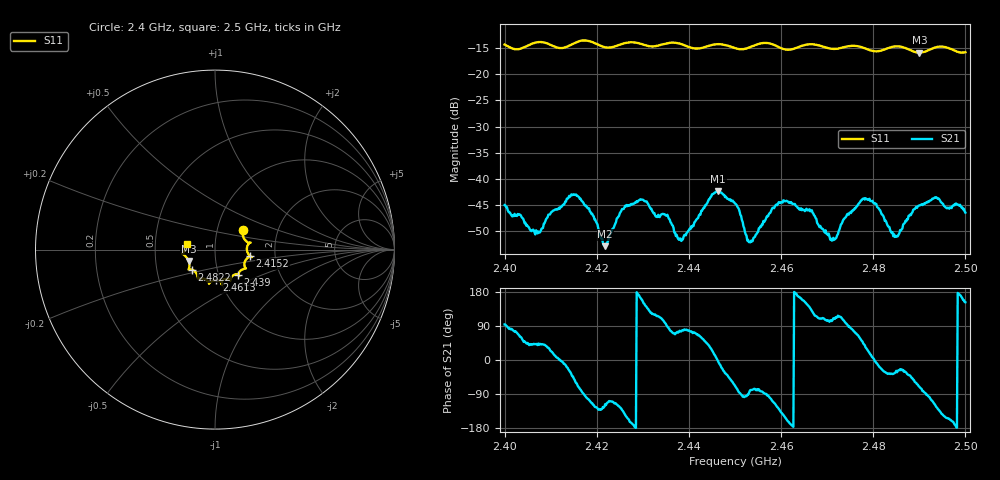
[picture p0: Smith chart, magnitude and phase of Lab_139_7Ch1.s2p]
# Hz S RI R 50
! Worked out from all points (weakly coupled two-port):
!   601 points, 2.4 GHz to 2.5 GHz, reference 50 ohm
!   highest |S21| = -42.31 dB at 2.4463 GHz (marker M1); lowest = -52.8 dB at 2.4218 GHz (marker M2)
!   lowest |S11| = -15.9 dB at 2.49 GHz (marker M3), VSWR 1.38, Z = 36.9 - j4.82 ohm
!   |S11| at or under -10 dB: start of sweep to end of sweep
!   S12 and S22 are empty: the file has one direction only
!   S11 on the Smith chart (normalised r, x): 2.4 GHz: 1.33, +0.31; 2.4152 GHz: 1.48, -0.11; 2.439 GHz: 1.24, -0.36; 2.4613 GHz: 0.96, -0.34; 2.4822 GHz: 0.76, -0.17; 2.5 GHz: 0.72, +0.05
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2.4e9  0.156 0.1115  -0.000381 0.00563  0 0  0 0
2.407167e9  0.1984 0.0383  0.00234 0.00192  0 0  0 0
2.415167e9  0.1949 -0.036  0.00436 -0.00554  0 0  0 0
2.416667e9  0.2046 -0.0421  0.000889 -0.00616  0 0  0 0
2.421833e9  0.171 -0.0574  -0.00102 -0.00205  0 0  0 0
2.4265e9  0.1708 -0.1032  -0.00492 -0.00278  0 0  0 0
2.43e9  0.1587 -0.1082  -0.00572 0.00276  0 0  0 0
2.433333e9  0.1327 -0.1324  -0.00196 0.00411  0 0  0 0
2.439e9  0.1279 -0.139  0.00047 0.00288  0 0  0 0
2.446333e9  0.0854 -0.1735  0.00765 -0.000495  0 0  0 0
2.45e9  0.069 -0.1635  0.00217 -0.00542  0 0  0 0
2.453333e9  0.0371 -0.1777  0.000461 -0.00245  0 0  0 0
2.461333e9  0.00786 -0.171  -0.00574 -0.00219  0 0  0 0
2.466667e9  -0.0331 -0.1903  -0.00321 0.00389  0 0  0 0
2.471167e9  -0.0558 -0.1655  -0.000666 0.00251  0 0  0 0
2.477833e9  -0.0967 -0.1505  0.00472 0.00448  0 0  0 0
2.482167e9  -0.1283 -0.1119  0.00391 -0.00211  0 0  0 0
2.483333e9  -0.1395 -0.1105  0.00284 -0.00205  0 0  0 0
2.485167e9  -0.1477 -0.1106  0.00242 -0.00153  0 0  0 0
2.49e9  -0.1472 -0.0637  0.00188 -0.00527  0 0  0 0
2.493667e9  -0.1795 -0.0246  -0.00372 -0.00558  0 0  0 0
2.5e9  -0.1586 0.0338  -0.00423 0.00222  0 0  0 0
